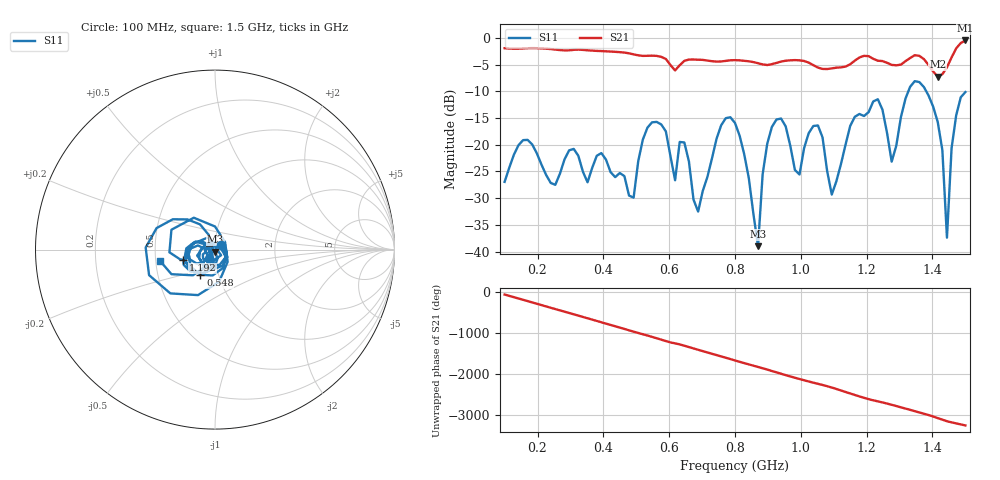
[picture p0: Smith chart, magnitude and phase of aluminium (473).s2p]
! NanoVNA-App
! Date: 2025-09-25 14:58:58
! Start: 100MHz Stop: 1,5GHz Points: 101
! S-Parameter data: F S11 S21 S12 S22
# Hz S RI R 50
!  Frequency  S11_Real  S11_Imag  S21_Real  S21_Imag  S12_Real  S12_Imag  S22_Real  S22_Imag
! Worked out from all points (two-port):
!   101 points, 100 MHz to 1.5 GHz, reference 50 ohm
!   highest |S21| = -0.47 dB at 1.5 GHz (marker M1); lowest = -7.2 dB at 1.416 GHz (marker M2)
!   |S21| within 3 dB of the highest: start of sweep to 570.4 MHz; 1.46 GHz to end of sweep (the widest 2 of 4)
!   lowest |S11| = -39.0 dB at 870 MHz (marker M3), VSWR 1.02, Z = 50.2 - j1.11 ohm
!   |S11| at or under -10 dB: start of sweep to 1.327 GHz; 1.381 GHz to end of sweep
!   S12 and S22 are empty: the file has one direction only
!   S11 on the Smith chart (normalised r, x): 100 MHz: 1.07, +0.06; 548 MHz: 0.82, -0.24; 1.192 GHz: 0.70, -0.08; 1.5 GHz: 0.53, -0.08
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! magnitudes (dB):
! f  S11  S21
! 100 MHz  -27.0  -1.9
! 156 MHz  -19.1  -2.0
! 338 MHz  -25.1  -2.2
! 492 MHz  -29.9  -3.1
! 548 MHz  -15.8  -3.3
! 576 MHz  -16.2  -3.5
! 646 MHz  -19.6  -4.3
! 688 MHz  -32.5  -4.1
! 800 MHz  -15.9  -4.2
! 870 MHz  -39.0  -4.7
! 912 MHz  -16.7  -4.9
! 996 MHz  -25.6  -4.2
! 1.038 GHz  -16.5  -5.1
! 1.094 GHz  -29.3  -5.7
! 1.192 GHz  -14.6  -3.3
! 1.234 GHz  -11.5  -4.3
! 1.276 GHz  -23.2  -5.0
! 1.346 GHz  -8.1  -3.2
! 1.416 GHz  -15.7  -7.2
! 1.444 GHz  -37.4  -5.5
! 1.458 GHz  -20.7  -3.6
! 1.5 GHz  -10.1  -0.5
